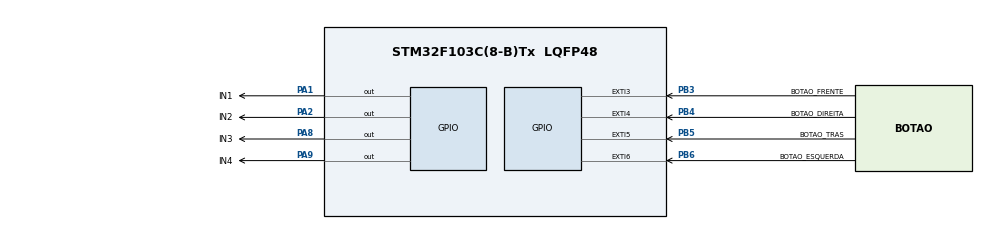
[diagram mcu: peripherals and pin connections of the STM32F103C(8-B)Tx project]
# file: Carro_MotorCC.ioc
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Mcu.Family=STM32F1
NVIC.EXTI4_IRQn=true\:2\:0\:true\:false\:true\:true\:true
PA9.GPIO_Label=IN4
NVIC.EXTI3_IRQn=true\:2\:0\:true\:false\:true\:true\:true
PB6.GPIO_Label=BOTAO_ESQUERDA
VP_SYS_VS_ND.Mode=No_Debug
ProjectManager.StackSize=0x400
PA8.GPIO_Label=IN3
ProjectManager.TargetToolchain=SW4STM32
PA9.Signal=GPIO_Output
PB6.Signal=GPXTI6
PA1.Signal=GPIO_Output
board=custom
RCC.APB2Freq_Value=8000000
PB4.GPIO_Label=BOTAO_DIREITA
PA1.GPIO_Label=IN1
PA8.Signal=GPIO_Output
Mcu.Name=STM32F103C(8-B)Tx
PA2.Signal=GPIO_Output
PB3.Signal=GPXTI3
Mcu.Package=LQFP48
PB5.Signal=GPXTI5
PA2.GPIO_Label=IN2
NVIC.EXTI9_5_IRQn=true\:2\:0\:true\:false\:true\:true\:true
ProjectManager.HeapSize=0x200
NVIC.PriorityGroup=NVIC_PRIORITYGROUP_4
PB5.GPIO_Label=BOTAO_TRAS
RCC.APB1Freq_Value=8000000
PB4.Signal=GPXTI4
PB3.GPIO_Label=BOTAO_FRENTE

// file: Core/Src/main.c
/* USER CODE BEGIN Header */
/**
  ******************************************************************************
  * @file           : main.c
  * @brief          : Main program body
  ******************************************************************************
  * @attention
  *
  * <h2><center>&copy; Copyright (c) 2021 STMicroelectronics.
  * All rights reserved.</center></h2>
  *
  * This software component is licensed by ST under BSD 3-Clause license,
  * the "License"; You may not use this file except in compliance with the
  * License. You may obtain a copy of the License at:
  *                        opensource.org/licenses/BSD-3-Clause
  *
  ******************************************************************************
  */
/* USER CODE END Header */
#include "main.h"

/* USER CODE BEGIN Includes */
#include "motor.h"
/* USER CODE END Includes */

/* USER CODE BEGIN PV */
volatile bool botaoFrente = false;
volatile bool botaoTras = false;
volatile bool botaoDireita = false;
volatile bool botaoEsquerda = false;
/* USER CODE END PV */

void SystemClock_Config(void);
static void MX_GPIO_Init(void);

/* USER CODE BEGIN 0 */
void HAL_GPIO_EXTI_Callback(uint16_t GPIO_Pin) {
	if(GPIO_Pin == BOTAO_FRENTE_Pin){
		botaoFrente = true;
		botaoTras = false;
		botaoDireita = false;
		botaoEsquerda = false;
	} else if (GPIO_Pin == BOTAO_TRAS_Pin) {
		botaoFrente = false;
		botaoTras = true;
		botaoDireita = false;
		botaoEsquerda = false;
	} else if (GPIO_Pin == BOTAO_DIREITA_Pin) {
		botaoFrente = false;
		botaoTras = false;
		botaoDireita = true;
		botaoEsquerda = false;
	} else if (GPIO_Pin == BOTAO_ESQUERDA_Pin) {
		botaoFrente = false;
		botaoTras = false;
		botaoDireita = false;
		botaoEsquerda = true;
	}
}
/* USER CODE END 0 */

int main(void)
{

  /* MCU Configuration--------------------------------------------------------*/

  /* Reset of all peripherals, Initializes the Flash interface and the Systick. */
  HAL_Init();

  /* Configure the system clock */
  SystemClock_Config();

  /* Initialize all configured peripherals */
  MX_GPIO_Init();

  /* Infinite loop */
  /* USER CODE BEGIN WHILE */
  while (1)
  {
	  if(botaoFrente) {
	 		  if(HAL_GPIO_ReadPin(BOTAO_FRENTE_GPIO_Port, BOTAO_FRENTE_Pin)==GPIO_PIN_SET) {
	 			  moveCarroParaFrente();
	 		  } else {
	 			  pararCarro();
	 			  botaoFrente = false;
	 		  }
	 	  }

	 	  if(botaoTras) {
	 		  if(HAL_GPIO_ReadPin(BOTAO_TRAS_GPIO_Port, BOTAO_TRAS_Pin)==GPIO_PIN_SET) {
	 			  moveCarroParaTras();
	 		  } else {
	 			  pararCarro();
	 			  botaoTras = false;
	 		  }
	 	  }

	 	  if(botaoDireita) {
	 		  if(HAL_GPIO_ReadPin(BOTAO_DIREITA_GPIO_Port, BOTAO_DIREITA_Pin)==GPIO_PIN_SET) {
	 			  moveCarroParaDireita();
	 		  } else {
	 			  pararCarro();
	 			  botaoDireita = false;
	 		  }
	 	  }

	 	  if(botaoEsquerda) {
	 		  if(HAL_GPIO_ReadPin(BOTAO_ESQUERDA_GPIO_Port, BOTAO_ESQUERDA_Pin)==GPIO_PIN_SET) {
	 			  moveCarroParaEsquerda();
	 		  } else {
	 			  pararCarro();
	 			  botaoEsquerda = false;
	 		  }
	 	  }
    /* USER CODE END WHILE */

  }
}

void SystemClock_Config(void)
{
  RCC_OscInitTypeDef RCC_OscInitStruct = {0};
  RCC_ClkInitTypeDef RCC_ClkInitStruct = {0};

  /** Initializes the RCC Oscillators according to the specified parameters
  * in the RCC_OscInitTypeDef structure.
  */
  RCC_OscInitStruct.OscillatorType = RCC_OSCILLATORTYPE_HSI;
  RCC_OscInitStruct.HSIState = RCC_HSI_ON;
  RCC_OscInitStruct.HSICalibrationValue = RCC_HSICALIBRATION_DEFAULT;
  RCC_OscInitStruct.PLL.PLLState = RCC_PLL_NONE;
  if (HAL_RCC_OscConfig(&RCC_OscInitStruct) != HAL_OK)
  {
    Error_Handler();
  }
  /** Initializes the CPU, AHB and APB buses clocks
  */
  RCC_ClkInitStruct.ClockType = RCC_CLOCKTYPE_HCLK|RCC_CLOCKTYPE_SYSCLK
                              |RCC_CLOCKTYPE_PCLK1|RCC_CLOCKTYPE_PCLK2;
  RCC_ClkInitStruct.SYSCLKSource = RCC_SYSCLKSOURCE_HSI;
  RCC_ClkInitStruct.AHBCLKDivider = RCC_SYSCLK_DIV1;
  RCC_ClkInitStruct.APB1CLKDivider = RCC_HCLK_DIV1;
  RCC_ClkInitStruct.APB2CLKDivider = RCC_HCLK_DIV1;

  if (HAL_RCC_ClockConfig(&RCC_ClkInitStruct, FLASH_LATENCY_0) != HAL_OK)
  {
    Error_Handler();
  }
}

static void MX_GPIO_Init(void)
{
  GPIO_InitTypeDef GPIO_InitStruct = {0};

  /* GPIO Ports Clock Enable */
  __HAL_RCC_GPIOA_CLK_ENABLE();
  __HAL_RCC_GPIOB_CLK_ENABLE();

  /*Configure GPIO pin Output Level */
  HAL_GPIO_WritePin(GPIOA, IN1_Pin|IN2_Pin|IN3_Pin|IN4_Pin, GPIO_PIN_RESET);

  /*Configure GPIO pins : IN1_Pin IN2_Pin IN3_Pin IN4_Pin */
  GPIO_InitStruct.Pin = IN1_Pin|IN2_Pin|IN3_Pin|IN4_Pin;
  GPIO_InitStruct.Mode = GPIO_MODE_OUTPUT_PP;
  GPIO_InitStruct.Pull = GPIO_NOPULL;
  GPIO_InitStruct.Speed = GPIO_SPEED_FREQ_LOW;
  HAL_GPIO_Init(GPIOA, &GPIO_InitStruct);

  /*Configure GPIO pins : BOTAO_FRENTE_Pin BOTAO_DIREITA_Pin BOTAO_TRAS_Pin BOTAO_ESQUERDA_Pin */
  GPIO_InitStruct.Pin = BOTAO_FRENTE_Pin|BOTAO_DIREITA_Pin|BOTAO_TRAS_Pin|BOTAO_ESQUERDA_Pin;
  GPIO_InitStruct.Mode = GPIO_MODE_IT_RISING;
  GPIO_InitStruct.Pull = GPIO_PULLUP;
  HAL_GPIO_Init(GPIOB, &GPIO_InitStruct);

  /* EXTI interrupt init*/
  HAL_NVIC_SetPriority(EXTI3_IRQn, 2, 0);
  HAL_NVIC_EnableIRQ(EXTI3_IRQn);

  HAL_NVIC_SetPriority(EXTI4_IRQn, 2, 0);
  HAL_NVIC_EnableIRQ(EXTI4_IRQn);

  HAL_NVIC_SetPriority(EXTI9_5_IRQn, 2, 0);
  HAL_NVIC_EnableIRQ(EXTI9_5_IRQn);

}

void Error_Handler(void)
{
}

/************************ (C) COPYRIGHT STMicroelectronics *****END OF FILE****/
